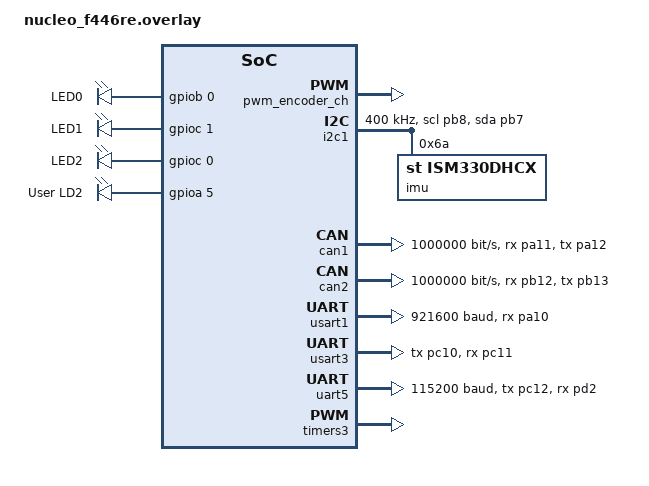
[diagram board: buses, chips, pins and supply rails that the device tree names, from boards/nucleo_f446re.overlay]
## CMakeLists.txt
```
cmake_minimum_required(VERSION 3.20.0)

set(CONF_FILE
    "${CMAKE_CURRENT_SOURCE_DIR}/../robots.conf"
    "${CMAKE_CURRENT_SOURCE_DIR}/prj.conf"
)

find_package(Zephyr REQUIRED HINTS $ENV{ZEPHYR_BASE})
project(Hero)

add_subdirectory(${CMAKE_CURRENT_SOURCE_DIR}/../../core core_build)

target_sources(app PRIVATE src/hero.cpp)
target_include_directories(app PRIVATE ${CMAKE_CURRENT_SOURCE_DIR}/../../core)

# Otherwise has trouble getting core since it's up a level on the directory
target_link_libraries(app PRIVATE core)
```

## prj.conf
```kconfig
# This is intentionally left empty for now since there's nothing specific to hero
# That we need to set. Everything should be done by robots.conf
```

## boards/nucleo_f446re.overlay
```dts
&i2c1 {
    pinctrl-0 = <&i2c1_scl_pb8 &i2c1_sda_pb7>;
    pinctrl-names = "default";
    status = "okay";
    clock-frequency = <400000>;

    imu: ism330@6a {
        compatible = "st,ism330dhcx";
        reg = <0x6a>;
    };
};

&can1 {
    pinctrl-0 = <&can1_rx_pa11 &can1_tx_pa12>;
    pinctrl-names = "default";
    status = "okay";
    bitrate = <1000000>;
};

&can2 {
    pinctrl-0 = <&can2_rx_pb12 &can2_tx_pb13>;
    pinctrl-names = "default";
    status = "okay";
    bitrate = <1000000>;
};

&usart1 { //Controller
    pinctrl-0 = <&usart1_rx_pa10>; // tx isn't connected because this is the controller
    pinctrl-names = "default";
    status = "okay";
    current-speed = <921600>;
};

&usart3 { //Ref
    pinctrl-0 = <&usart3_tx_pc10 &usart3_rx_pc11>;
    pinctrl-names = "default";
    status = "okay";
};

&uart5 {
    pinctrl-0 = <&uart5_tx_pc12 &uart5_rx_pd2>;
    pinctrl-names = "default";
    status = "okay";
    current-speed = <115200>;
};

&timers3 { // Encoder | PWM is done thru timer node, PB_4 is timer3 channel 1
    status = "okay";
    st,prescaler = <83>;   // tune below

    pwm3: pwm {
        compatible = "st,stm32-pwm";
        status = "okay";
        pinctrl-0 = <&tim3_ch1_pb4>;
        pinctrl-names = "default";
        #pwm-cells = <3>;
    };
};

/ {
    pwm_encoder_ch: zephyr,user { //Node has to be named "zephyr,user" so it compiles
        pwms = <&pwm3 1 PWM_MSEC(20) PWM_POLARITY_NORMAL>;
        status = "okay";
    };
};


/* The sigular slash below indicates that we're just making a new node
Unlike the ones above, which were already declared for us in the
root dts file Zephyr has for us, this LED node is specific to us */
/ {
    leds {
        compatible = "gpio-leds";
        led0: led_0 {
            gpios = <&gpiob 0 GPIO_ACTIVE_HIGH>;
            label = "LED0";
        };
        led1: led_1 {
            gpios = <&gpioc 1 GPIO_ACTIVE_HIGH>;
            label = "LED1";
        };
        led2: led_2 {
            gpios = <&gpioc 0 GPIO_ACTIVE_HIGH>;
            label = "LED2";
        };

        LD2: LD_2 {
            gpios = <&gpioa 5 GPIO_ACTIVE_HIGH>;
            label = "User LD2";
        };
    };

    aliases {
        //Left hand side lives in a diff namespace than right hand side
        //So this doesn't break everything I swear
        led0 = &led0;
        led1 = &led1;
        led2 = &led2;
    };
};
```

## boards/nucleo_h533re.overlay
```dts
&fdcan1 {
    status = "okay";
    pinctrl-0 = <&fdcan1_rx_pb8 &fdcan1_tx_pb7>;
    pinctrl-names = "default";
    bitrate = <1000000>;
};

&fdcan2 {
    status = "okay";
    pinctrl-0 = <&fdcan2_rx_pb5 &fdcan2_tx_pb6>;
    pinctrl-names = "default";
    bitrate = <1000000>;
};


&i2c1 {
    pinctrl-0 = <&i2c1_scl_pb8 &i2c1_sda_pb7>;
    pinctrl-names = "default";
    status = "okay";
    clock-frequency = <100000>;

	scl-gpios = <&gpiob 8 (GPIO_ACTIVE_HIGH | GPIO_OPEN_DRAIN)>;
	sda-gpios = <&gpiob 7 (GPIO_ACTIVE_HIGH | GPIO_OPEN_DRAIN)>;


    imu: ism330@6a {
        compatible = "st,ism330dhcx";
        reg = <0x6a>;
    };
};

&usart1 { //Controller
    pinctrl-0 = <&usart1_rx_pa10>; // tx isn't connected because this is the controller
    pinctrl-names = "default";
    status = "okay";
    current-speed = <921600>;
};

&usart3 { //Ref
    pinctrl-0 = <&usart3_tx_pc10 &usart3_rx_pc11>;
    pinctrl-names = "default";
    status = "okay";
};

&lpuart1 { //Ref
    pinctrl-0 = <&usart3_tx_pc10 &usart3_rx_pc11>;
    pinctrl-names = "default";
    status = "okay";
};


&timers3 { // Encoder | PWM is done thru timer node, PB_4 is timer3 channel 1
    status = "okay";
    st,prescaler = <83>;   // tune below

    pwm3: pwm {
        compatible = "st,stm32-pwm";
        status = "okay";
        pinctrl-0 = <&tim3_ch1_pb4>;
        pinctrl-names = "default";
        #pwm-cells = <3>;
    };
};

/ {
    pwm_encoder_ch: zephyr,user { //Node has to be named "zephyr,user" so it compiles
        pwms = <&pwm3 1 PWM_MSEC(20) PWM_POLARITY_NORMAL>;
        status = "okay";
    };
};


/* The sigular slash below indicates that we're just making a new node
Unlike the ones above, which were already declared for us in the
root dts file Zephyr has for us, this LED node is specific to us */
/ {
    leds {
        compatible = "gpio-leds";
        led0: led_0 {
            gpios = <&gpiob 0 GPIO_ACTIVE_HIGH>;
            label = "LED0";
        };
        led1: led_1 {
            gpios = <&gpioc 1 GPIO_ACTIVE_HIGH>;
            label = "LED1";
        };
        led2: led_2 {
            gpios = <&gpioc 0 GPIO_ACTIVE_HIGH>;
            label = "LED2";
        };

        LD2: LD_2 {
            gpios = <&gpioa 5 GPIO_ACTIVE_HIGH>;
            label = "User LD2";
        };
    };

    aliases {
        //Left hand side lives in a diff namespace than right hand side
        //So this doesn't break everything I swear
        led0 = &led0;
        led1 = &led1;
        led2 = &led2;
    };
};

  &gpiob {
       status = "okay";
   };

   &gpioc {
       status = "okay";
   };
```

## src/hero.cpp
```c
#include "stm32f446xx.h"
#include "zephyr/drivers/i2c.h"
#include "zephyr/drivers/pwm.h"
#include <zephyr/kernel.h>
#include <zephyr/drivers/gpio.h>
#include <zephyr/device.h>
#include <zephyr/devicetree.h>
#include <stdio.h>
#include <util/communications/DJIRemote2.h>
#include <util/communications/CANHandler.h>
#include <util/communications/jetson/Jetson.h>
#include <util/peripherals/imu/ISM330.h>
#include <util/algorithms/PID.h>
#include <base_robot/BaseRobot.h>
#include <zephyr/dt-bindings/pwm/pwm.h>
#include <subsystems/HeroShooterSubsystem.h>


// Robot Constants
constexpr float PITCH_LOWER_BOUND{-22.0};
constexpr float PITCH_UPPER_BOUND{25.0};

constexpr float JOYSTICK_YAW_SENSITIVITY_DPS = 300;
constexpr float JOYSTICK_PITCH_SENSITIVITY_DPS = 150;
// Mouse sensitivity initialized
constexpr float MOUSE_SENSITIVITY_YAW_DPS = 1.0;
constexpr float MOUSE_SENSITIVITY_PITCH_DPS = 1.0;

constexpr PID::config YAW_VEL_PID     = {181, 3.655 * 10e-3, 4.51 * 2.25, 32000, 1000};
constexpr PID::config YAW_POS_PID     = {1, 0, 0, 90, 2};
const float yaw_static_friction       = -150;       // We multiply it by dir
const float yaw_kinetic_friction      = 0;       // We multiply this by yawvelo

constexpr PID::config PITCH_VEL_PID   = {173.8994, 4.898 * 10e-9, 12.474 * 10, 16000, 1000}; //{25, 0.001, 5, 16000, 1000};
constexpr PID::config PITCH_POS_PID   = {1, 0, 0,30,2}; //{1, 0, 0, 30, 2};
const float pitch_gravity_feedforward = -500;    // We multiply this by cos(angle)
const float pitch_static_friction     = 635.0 / 5;       // We multiply it by dir
const float pitch_kinetic_friction    = 0; //5.5;     // We multiply this by pitchvelo

constexpr PID::config FL_VEL_CONFIG = {2.58, 0.23 * 1e-3, 17.3 * 1e-3};
constexpr PID::config FR_VEL_CONFIG = {2.75, 0.574 * 1e-3, 17.9 * 1e-3};
constexpr PID::config BL_VEL_CONFIG = {4.1, 0.0523 * 1e-3, 10.9 * 1e-3};
constexpr PID::config BR_VEL_CONFIG = {3.9, 0.159 * 1e-3, 26.1 * 1e-3};

constexpr PID::config FEEDER_PID = {4, 0, 1};

constexpr PID::config FLYWHEEL_L_PID = {7.1849, 0.000042634, 0};
constexpr PID::config FLYWHEEL_R_PID = {7.1849, 0.000042634, 0};
constexpr PID::config INDEXER_PID_VEL = {2.7, 0.001, 0};
constexpr PID::config INDEXER_PID_POS = {0.1,0,0.001};


// const struct device *gpio_devb = DEVICE_DT_GET(DT_NODELABEL(gpiob));
// const struct device *gpio_devc= DEVICE_DT_GET(DT_NODELABEL(gpioc));

// Devices from DT

const struct device *canbus1_dev = DEVICE_DT_GET(DT_NODELABEL(can1));

const struct device *canbus2_dev = DEVICE_DT_GET(DT_NODELABEL(can2));
constexpr short yaw_id = 3;
constexpr short pitch_id = 8;


static const struct i2c_dt_spec imu_spec = I2C_DT_SPEC_GET(DT_NODELABEL(imu));

static const struct pwm_dt_spec encoderSpec = PWM_DT_SPEC_GET(DT_NODELABEL(pwm_encoder_ch));
static const struct device *controllerUart = DEVICE_DT_GET(DT_NODELABEL(usart1));
DJIRemote2 controller(controllerUart);

static const struct device *jetsonUart = DEVICE_DT_GET(DT_NODELABEL(uart5));

// Subsystem Configs
TurretSubsystem::config turret_config = {
    canbus1_dev,
    CANHandler::CANBUS_1,
    yaw_id,
    M3508,
    canbus2_dev,
    CANHandler::CANBUS_2, // TODO: Ideally we could grab canbus thru the device
    pitch_id,
    M3508,
    YAW_VEL_PID,
    YAW_POS_PID,
    PITCH_VEL_PID,
    PITCH_POS_PID,
    yaw_static_friction,
    yaw_kinetic_friction,
    pitch_gravity_feedforward,
    pitch_static_friction,
    pitch_kinetic_friction,
    1,
    1.0/3.0,
    PITCH_LOWER_BOUND,
    PITCH_UPPER_BOUND
};
HeroShooterSubsystem::config shooter_config = {
    canbus2_dev,
    CANHandler::CANBUS_2,
    canbus1_dev,
    CANHandler::CANBUS_1,
    0,
    2,
    4,
    1,
    0, // MAKE SURE TO CHANGE THIS 
    FLYWHEEL_L_PID,
    FLYWHEEL_R_PID,
    FEEDER_PID,
    INDEXER_PID_VEL,
    INDEXER_PID_POS,
    false
};

// State variables
ChassisSpeeds des_chassis_state;
TurretSubsystem::TurretInfo des_turret_state;
ShootState des_shoot_state;

float pitch_desired_angle = 0.0;
float yaw_desired_angle = 0.0;
float dt_global = 0.0;

IMU::EulerAngles imuAngles;

class Hero : public BaseRobot {
  public:
    ISM330 imu_;
    MA4 encoder_;  
    // BufferedSerial jetson_raw_serial;
    Jetson jetson;

    Jetson::WriteState stm_state;
    Jetson::ReadState jetson_state;

    TurretSubsystem turret_;
    HeroShooterSubsystem shooter_;
    ChassisSubsystem chassis_;

    bool imu_initialized{false};

    Hero(Config &config)
        : BaseRobot(config),
          // clang-format off
        imu_(imu_spec),
        // encoder_(PB_4),
        encoder_(&encoderSpec),

        // jetson_raw_serial(PC_12, PD_2,115200),
        // jetson(jetson_raw_serial),
        jetson(jetsonUart),
        turret_(turret_config, imu_),
        shooter_(shooter_config),

        // TODO add passing in individual PID objects for the motors
        chassis_(ChassisSubsystem::Config{
            1,      // left_front_can_id
            2,      // right_front_can_id
            3,      // left_back_can_id
            4,      // right_back_can_id
            0.22617,  // radius
            0.065,    // speed_pid_ff_ks
            35,     // yaw_initial_offset_ticks
            imu_,
            &encoder_   
        }
        )
    // clang-format on
    {
        // pin_mode(IMU_I2C_SCL, PinMode::OpenDrainPullUp);
        // pin_mode(IMU_I2C_SDA, PinMode::OpenDrainPullUp);
    }

    ~Hero() {}

    void init() override {
        // timer = us_ticker_read();
        imu_.begin(0.9, 0);
        encoder_.init();
    }

    void periodic(unsigned long dt_us) override {
        // TODO this should be threaded inside imu instead
        imu_.mahonyUpdateIMU(dt_us / 1000000.0);
        imuAngles = imu_.getImuAngles();
        // TODO: use this in code correctly to drive faster
        max_linear_vel = MAX_VEL;
        des_chassis_state.vX = jy * max_linear_vel;
        des_chassis_state.vY = jx * max_linear_vel;

        // Read jetson
        jetson_state = jetson.read();
        // check if new jetson state given and if we want cv
        if (cv_enabled_ && (now_us() - jetson_state.stamp_us ) / 1000 < 500) {
            yaw_desired_angle = jetson_state.desired_yaw_rads * 180 / PI;
            pitch_desired_angle = jetson_state.desired_pitch_rads * 180 / PI;
        }

        // Turret from remote
        yaw_desired_angle -= myaw * 0.01f;
        yaw_desired_angle -= jyaw * JOYSTICK_YAW_SENSITIVITY_DPS * dt_us / 1000000;
        yaw_desired_angle = capAngle(yaw_desired_angle);
        des_turret_state.yaw_angle_degs = yaw_desired_angle;

        pitch_desired_angle -= mpitch * 0.01f;
        pitch_desired_angle -= jpitch * JOYSTICK_PITCH_SENSITIVITY_DPS * dt_us / 1000000;
        pitch_desired_angle = std::clamp(pitch_desired_angle, PITCH_LOWER_BOUND, PITCH_UPPER_BOUND);
        des_turret_state.pitch_angle_degs = pitch_desired_angle;

        // Chassis logic
        if (drive == 'u' || (drive == 'o' && remote_.getMode() == DJIRemote2::ModeSwitch::MODE_N)) {
            des_chassis_state.vOmega = 0;
            chassis_.setChassisSpeeds(des_chassis_state, ChassisSubsystem::DRIVE_MODE::YAW_ORIENTED);
            des_turret_state.turret_mode = TurretState::AIM;
            referee_.is_aligned = false;
            referee_.is_cv_on = false;
            referee_.is_spinning = false;
        }  else if (drive == 'd' || 
                   (drive == 'o' &&
                    remote_.getMode() == DJIRemote2::ModeSwitch::MODE_S)) {
            des_chassis_state.vOmega = omega_speed;
            chassis_.setChassisSpeeds(des_chassis_state, ChassisSubsystem::DRIVE_MODE::YAW_ORIENTED);
            des_turret_state.turret_mode = TurretState::AIM;
            referee_.is_aligned = false;
            referee_.is_cv_on = false;
            referee_.is_spinning = true;
        } else {
            chassis_.setWheelPower({0, 0, 0, 0});
            des_turret_state.turret_mode = TurretState::SLEEP;
            des_turret_state.yaw_angle_degs = turret_.getState().yaw_angle_degs;
            yaw_desired_angle = turret_.getState().yaw_angle_degs;
            des_turret_state.pitch_angle_degs = 0;
            referee_.is_aligned = false;
            referee_.is_cv_on = false;
            referee_.is_spinning = false;
        }

        // Shooter Logic 
        //REMOVED remote_.PAUSEToggled() == true && FROM THE FIRST CONDITION
        if ((remote_.PAUSEToggled() == true && remote_.TriggerPressed() == true) || remote_.getMouseL()) {
            des_shoot_state = ShootState::SHOOT;
        } else if (remote_.CUSTRPressed() == true && remote_.PAUSEToggled() == true) {
            des_shoot_state = ShootState::JAM;
        } else if (remote_.PAUSEToggled() == true || shot == 'd') {
            des_shoot_state = ShootState::FLYWHEEL;
            referee_.is_flywheel_on = true;
        } else {
            des_shoot_state = ShootState::OFF;
            referee_.is_flywheel_on = false;
        }

        turret_.setState(des_turret_state);
        shooter_.setState(des_shoot_state);

        turret_.periodic(chassis_.getChassisSpeeds().vOmega * 60 / (2 * PI));
        chassis_.power_limit = referee_.robot_status.chassis_power_limit;
        chassis_.periodic(&imuAngles);
        shooter_.periodic(referee_.power_heat_data.shooter_17mm_1_barrel_heat,
                         referee_.robot_status.shooter_barrel_heat_limit);

        // jetson comms
        set_jetson_state();
        jetson.write(stm_state);

        // printf("time %.4f\n", dt_us / 1000000.0);

        // Debug print statements
        // printf("des: %.2f, %.2f, %.2f %d \n", jetson.read().desired_x_vel,
        // jetson.read().desired_y_vel, jetson.read().desired_angular_vel,
        // jetson.read().localization_calibration); printf("y: %.2f\n",
        // turret.getState().yaw_angle); printf("p: %.2f\n",
        // turret.getState().pitch_angle + remote_.getPitch()); printf("p:
        // %.2f\n", turret.getState().pitch_angle); printf("%d\n",
        // shooter.getState()); printf("v:%d\n",testmot>>VELOCITY); printf("cx:
        // %.2f\n", remote_.getChassisX()); printf("switch: %d\n",
        // remote_.getSwitch(Remote::Switch::RIGHT_SWITCH)); printf("imu:
        // %.2f\n", imu.getImuAngles().yaw);
        // printf("%d\n", referee_.get_game_progress());
        // printf("yp %.2f \n", encoder_.encoderMovingAverage());
        // printf("%.2f, %.2f, %.2f\n", imuAngles.roll, imuAngles.pitch, imuAngles.yaw);
    }

    void end_of_loop() override {}

    unsigned int main_loop_dt_ms() override { return 2; } // 500 Hz loop

    void set_jetson_state() {
        stm_state.activate_CV = cv_enabled_;
        stm_state.game_state = referee_.get_game_progress();
        stm_state.robot_hp = referee_.get_remain_hp();
        stm_state.team_color = referee_.is_red_or_blue();

        stm_state.chassis_x_velocity = chassis_.getChassisSpeeds().vX;
        stm_state.chassis_y_velocity = chassis_.getChassisSpeeds().vY;
        stm_state.chassis_rotation = chassis_.getChassisSpeeds().vOmega;

        stm_state.yaw_angle_rads = degreesToRadians(turret_.getState().yaw_angle_degs);
        stm_state.yaw_velocity = degreesToRadians(turret_.getState().yaw_velo_rad_s);
        stm_state.pitch_angle_rads = degreesToRadians(turret_.getState().pitch_angle_degs);
        stm_state.pitch_velocity = degreesToRadians(turret_.getState().pitch_velo_rad_s);
    }
};


int main(void)
{
    printf("HELLO\n");
    BaseRobot::Config config = BaseRobot::Config{};
    Hero hero(config);

    hero.main_loop();
    // // blocking
}
```
